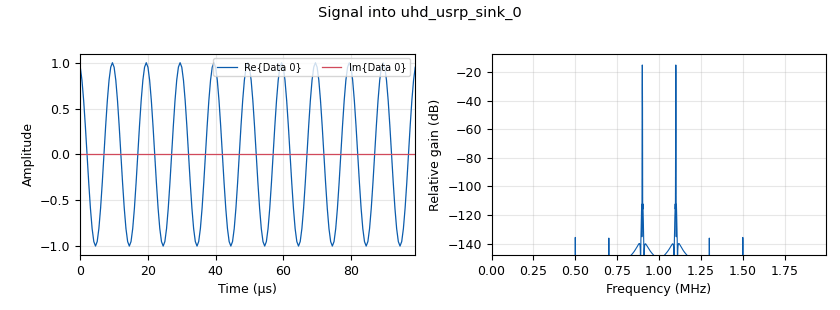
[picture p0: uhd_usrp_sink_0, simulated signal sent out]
<?xml version='1.0' encoding='utf-8'?>
<?grc format='1' created='3.7.6'?>
<flow_graph>
<block>
<key>options</key>
<param><key>id</key><value>TestTx_WX</value></param>
<param><key>title</key><value>USRP Signal Generator (WX)</value></param>
<param><key>author</key><value>MR</value></param>
<param><key>description</key><value>Generate a signal and send to the USRP</value></param>
<param><key>generate_options</key><value>wx_gui</value></param>
<param><key>category</key><value>Custom</value></param>
</block>
<block>
<key>variable</key>
<param><key>id</key><value>samp_rate</value></param>
<param><key>value</key><value>2000000</value></param>
</block>
<block>
<key>variable_slider</key>
<param><key>id</key><value>sig_amp</value></param>
<param><key>label</key><value>Real Signal Amp</value></param>
<param><key>value</key><value>1</value></param>
<param><key>min</key><value>0</value></param>
<param><key>max</key><value>1</value></param>
<param><key>num_steps</key><value>20</value></param>
<param><key>style</key><value>wx.SL_HORIZONTAL</value></param>
<param><key>converver</key><value>float_converter</value></param>
</block>
<block>
<key>variable_slider</key>
<param><key>id</key><value>sig_amp_c</value></param>
<param><key>label</key><value>Complex Signal Amp</value></param>
<param><key>value</key><value>0</value></param>
<param><key>min</key><value>0</value></param>
<param><key>max</key><value>1</value></param>
<param><key>num_steps</key><value>20</value></param>
<param><key>style</key><value>wx.SL_HORIZONTAL</value></param>
<param><key>converver</key><value>float_converter</value></param>
</block>
<block>
<key>variable_slider</key>
<param><key>id</key><value>sig_freq_c</value></param>
<param><key>label</key><value>Complex Signal Freq</value></param>
<param><key>value</key><value>0</value></param>
<param><key>min</key><value>0</value></param>
<param><key>max</key><value>1000000</value></param>
<param><key>num_steps</key><value>500</value></param>
<param><key>style</key><value>wx.SL_HORIZONTAL</value></param>
<param><key>converver</key><value>float_converter</value></param>
</block>
<block>
<key>analog_sig_source_x</key>
<param><key>id</key><value>analog_sig_source_x_0</value></param>
<param><key>type</key><value>float</value></param>
<param><key>samp_rate</key><value>samp_rate</value></param>
<param><key>waveform</key><value>analog.GR_COS_WAVE</value></param>
<param><key>freq</key><value>sig_freq</value></param>
<param><key>amp</key><value>sig_amp</value></param>
<param><key>offset</key><value>0</value></param>
</block>
<block>
<key>analog_sig_source_x</key>
<param><key>id</key><value>analog_sig_source_x_0_0</value></param>
<param><key>type</key><value>float</value></param>
<param><key>samp_rate</key><value>samp_rate</value></param>
<param><key>waveform</key><value>analog.GR_COS_WAVE</value></param>
<param><key>freq</key><value>sig_freq_c</value></param>
<param><key>amp</key><value>sig_amp_c</value></param>
<param><key>offset</key><value>0</value></param>
</block>
<block>
<key>blocks_float_to_complex</key>
<param><key>id</key><value>blocks_float_to_complex_0</value></param>
</block>
<block>
<key>uhd_usrp_sink</key>
<param><key>id</key><value>uhd_usrp_sink_0</value></param>
<param><key>type</key><value>fc32</value></param>
<param><key>dev_addr</key><value></value></param>
<param><key>dev_args</key><value>""</value></param>
<param><key>sync</key><value></value></param>
<param><key>clock_rate</key><value>0.0</value></param>
<param><key>samp_rate</key><value>samp_rate</value></param>
<param><key>center_freq0</key><value>car_freq</value></param>
<param><key>gain0</key><value>0</value></param>
<param><key>ant0</key><value></value></param>
<param><key>len_tag_name</key><value></value></param>
</block>
<block>
<key>variable_slider</key>
<param><key>id</key><value>car_freq</value></param>
<param><key>label</key><value>car_freq_slider</value></param>
<param><key>value</key><value>1000000</value></param>
<param><key>min</key><value>0</value></param>
<param><key>max</key><value>5000000</value></param>
<param><key>num_steps</key><value>500</value></param>
<param><key>style</key><value>wx.SL_HORIZONTAL</value></param>
<param><key>converver</key><value>float_converter</value></param>
</block>
<block>
<key>variable_slider</key>
<param><key>id</key><value>sig_freq</value></param>
<param><key>label</key><value>Real Signal Freq</value></param>
<param><key>value</key><value>100000</value></param>
<param><key>min</key><value>0</value></param>
<param><key>max</key><value>1000000</value></param>
<param><key>num_steps</key><value>500</value></param>
<param><key>style</key><value>wx.SL_HORIZONTAL</value></param>
<param><key>converver</key><value>float_converter</value></param>
</block>
<connection><source_block_id>blocks_float_to_complex_0</source_block_id><sink_block_id>uhd_usrp_sink_0</sink_block_id><source_key>0</source_key><sink_key>0</sink_key></connection>
<connection><source_block_id>analog_sig_source_x_0</source_block_id><sink_block_id>blocks_float_to_complex_0</sink_block_id><source_key>0</source_key><sink_key>0</sink_key></connection>
<connection><source_block_id>analog_sig_source_x_0_0</source_block_id><sink_block_id>blocks_float_to_complex_0</sink_block_id><source_key>0</source_key><sink_key>1</sink_key></connection>
</flow_graph>
